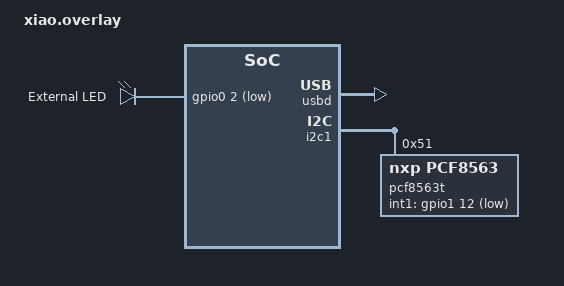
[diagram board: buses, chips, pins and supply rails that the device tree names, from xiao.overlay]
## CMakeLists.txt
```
# QPC Zephyr example
# SPDX-License-Identifier: GPL-3.0-or-later OR LicenseRef-QL-commercial

cmake_minimum_required(VERSION 3.20.0)
find_package(Zephyr REQUIRED HINTS $ENV{ZEPHYR_BASE})

project(dpp)

target_sources(app PRIVATE
 src/main.c
 src/bsp.c
 src/philo.c
 src/table.c
 src/meditation.c
 src/cts.c
 src/music.c
)

# QPC framework directory
# NOTE:
# Adjust this path for a different relative path
# between your project and the QPC folder
#
set(QPC_DIR ../../..)

# option to turn QSPY software tracing ON or OFF
# NOTE: change of the option might require re-building the project
#
option(QSPY "QSPY software tracing" ON)

# QPC framework includes and sources...
zephyr_include_directories(
 ${QPC_DIR}/include
 ${QPC_DIR}/zephyr
 ./src
)
target_sources(app PRIVATE
 ${QPC_DIR}/src/qf/qep_hsm.c
 ${QPC_DIR}/src/qf/qep_msm.c
 ${QPC_DIR}/src/qf/qf_act.c
 ${QPC_DIR}/src/qf/qf_qact.c
 ${QPC_DIR}/src/qf/qf_defer.c
 ${QPC_DIR}/src/qf/qf_dyn.c
 ${QPC_DIR}/src/qf/qf_mem.c
 ${QPC_DIR}/src/qf/qf_ps.c
 ${QPC_DIR}/src/qf/qf_qact.c
 ${QPC_DIR}/src/qf/qf_qeq.c
 ${QPC_DIR}/src/qf/qf_qmact.c
 ${QPC_DIR}/src/qf/qf_time.c
 ${QPC_DIR}/zephyr/qf_port.c
)

# QPCPP configuration with QSPY...
if(QSPY)

add_compile_definitions(Q_SPY)

target_sources(app PRIVATE
 ${QPC_DIR}/src/qs/qs.c
 ${QPC_DIR}/src/qs/qs_rx.c
 ${QPC_DIR}/src/qs/qs_fp.c
 ${QPC_DIR}/src/qs/qutest.c
 ${QPC_DIR}/src/qs/qs_64bit.c
 ${QPC_DIR}/src/qs/qstamp.c
)

endif()
```

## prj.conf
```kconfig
# QPC Zephyr application
# SPDX-License-Identifier: GPL-3.0-or-later OR LicenseRef-QL-commercial

CONFIG_NUM_COOP_PRIORITIES=29
CONFIG_NUM_PREEMPT_PRIORITIES=40
CONFIG_THREAD_NAME=y
CONFIG_REBOOT=y

# for QSPY...
CONFIG_SERIAL=y
# CONFIG_UART_INTERRUPT_DRIVEN=y
CONFIG_CONSOLE=y
CONFIG_UART_CONSOLE=n
CONFIG_USB_CDC_ACM=y

CONFIG_RTC=y
CONFIG_RTC_ALARM=y
# this gets enabled if NXP,PCF8563 enabled in overlay but adding here for clarity
CONFIG_RTC_PCF8563=y

CONFIG_BT=y
CONFIG_BT_PERIPHERAL=y
CONFIG_BT_DEVICE_NAME="Bakewell"

CONFIG_PWM=y
```

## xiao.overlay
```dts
/ {
    chosen {
        // was &uart0
        zephyr,console = &usb_cdc_acm_uart;
        zephyr,shell-uart = &usb_cdc_acm_uart;
        zephyr,uart-mcumgr = &usb_cdc_acm_uart;
        zephyr,bt-mon-uart = &usb_cdc_acm_uart;
        zephyr,bt-c2h-uart = &usb_cdc_acm_uart;
    };

    // pwmleds works for a buzzer and seems to be the best option
    pwmleds {
        buzzer: buzzer {
            pwms = <&pwm0 1 20 PWM_POLARITY_NORMAL>;
        };
    };

    leds {
		compatible = "gpio-leds";
		led_external: led_external {
			gpios = <&gpio0 2 GPIO_ACTIVE_LOW>;
			label = "External LED";
		};
    };
};

&usbd {
	status = "okay";
};

&pwm0_default {
	group2 {
		psels = <NRF_PSEL(PWM_OUT1, 0, 29)>;
	};
};

&i2c1 {
    pcf8563t: pcf8563t@51 {
        compatible = "nxp,pcf8563";
        reg = <0x51>;
        int1-gpios = <&gpio1 12 (GPIO_ACTIVE_LOW | GPIO_OPEN_DRAIN)>;
    };
};

&uart0 {
    //status = "disabled";
    disable-rx;
};
```

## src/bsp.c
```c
//============================================================================
// Product: "Dining Philosophers Problem" example, Zephyr RTOS kernel
// Last updated for: @ref qpc_7_3_2
// Last updated on  2023-12-13
//
//                   Q u a n t u m  L e a P s
//                   ------------------------
//                   Modern Embedded Software
//
// Copyright (C) 2005 Quantum Leaps, LLC. <state-machine.com>
//
// This program is open source software: you can redistribute it and/or
// modify it under the terms of the GNU General Public License as published
// by the Free Software Foundation, either version 3 of the License, or
// (at your option) any later version.
//
// Alternatively, this program may be distributed and modified under the
// terms of Quantum Leaps commercial licenses, which expressly supersede
// the GNU General Public License and are specifically designed for
// licensees interested in retaining the proprietary status of their code.
//
// This program is distributed in the hope that it will be useful,
// but WITHOUT ANY WARRANTY; without even the implied warranty of
// MERCHANTABILITY or FITNESS FOR A PARTICULAR PURPOSE. See the
// GNU General Public License for more details.
//
// You should have received a copy of the GNU General Public License
// along with this program. If not, see <www.gnu.org/licenses/>.
//
// Contact information:
// <www.state-machine.com/licensing>
// <info@state-machine.com>
//============================================================================
#include "qpc.h"                 // QP/C real-time embedded framework
#include "dpp.h"                 // DPP Application interface
#include "bsp.h"                 // Board Support Package

#include <zephyr/drivers/gpio.h>
#include <zephyr/sys/reboot.h>
// add other drivers if necessary...
#include <zephyr/drivers/rtc.h>

#include <zephyr/bluetooth/bluetooth.h>
#include <zephyr/bluetooth/uuid.h>
#include <zephyr/bluetooth/gatt.h>

#include <zephyr/drivers/pwm.h>

#include "music.h"

// The devicetree node identifier for the "led0" alias.
#define LED0_NODE DT_ALIAS(led0)
#define LED_EXTERNAL_NODE DT_NODELABEL(led_external)

Q_DEFINE_THIS_FILE

// Local-scope objects -----------------------------------------------------
static struct gpio_dt_spec const l_led0 = GPIO_DT_SPEC_GET(LED0_NODE, gpios);
static struct gpio_dt_spec const l_ledExternal = GPIO_DT_SPEC_GET(LED_EXTERNAL_NODE, gpios);
static const struct pwm_dt_spec piezo_pwm = PWM_DT_SPEC_GET(DT_NODELABEL(buzzer));

static struct k_timer zephyr_tick_timer;
static uint32_t l_rnd; // random seed

static const struct device* rtc_pcf8563 = DEVICE_DT_GET(DT_NODELABEL(pcf8563t));

/* Custom Service Variables */
#define BT_UUID_CUSTOM_SERVICE_VAL \
	BT_UUID_128_ENCODE(0x12345678, 0x1234, 0x5678, 0x1234, 0x56789abcdef0)

static const struct bt_data ad[] = {
	BT_DATA_BYTES(BT_DATA_FLAGS, (BT_LE_AD_GENERAL | BT_LE_AD_NO_BREDR)),
	BT_DATA_BYTES(BT_DATA_UUID16_ALL, BT_UUID_16_ENCODE(BT_UUID_CTS_VAL)),
	BT_DATA_BYTES(BT_DATA_UUID128_ALL, BT_UUID_CUSTOM_SERVICE_VAL),
};

static const struct bt_data sd[] = {
	BT_DATA(BT_DATA_NAME_COMPLETE, CONFIG_BT_DEVICE_NAME, sizeof(CONFIG_BT_DEVICE_NAME) - 1),
};

/* Custom Service Variables */
#define BT_UUID_CUSTOM_SERVICE_VAL \
	BT_UUID_128_ENCODE(0x12345678, 0x1234, 0x5678, 0x1234, 0x56789abcdef0)

static const struct bt_uuid_128 meditation_uuid = BT_UUID_INIT_128(BT_UUID_CUSTOM_SERVICE_VAL);

static const struct bt_uuid_128 meditation_start = BT_UUID_INIT_128(
	BT_UUID_128_ENCODE(0x12345678, 0x1234, 0x5678, 0x1234, 0x56789abcdef1));

static ssize_t write_meditation_start(struct bt_conn *conn, const struct bt_gatt_attr *attr,
			 const void *buf, uint16_t len, uint16_t offset,
			 uint8_t flags){

    static const QEvt evt = QEVT_INITIALIZER(START_MEDITATION_SIG);
    QACTIVE_POST(AO_Meditation, &evt, NULL);

    return len;
}

BT_GATT_SERVICE_DEFINE(meditation_service,
	BT_GATT_PRIMARY_SERVICE(&meditation_uuid),
	BT_GATT_CHARACTERISTIC(&meditation_start.uuid,
			       BT_GATT_CHRC_WRITE,
				   BT_GATT_PERM_WRITE,
			       NULL, &write_meditation_start, NULL));

#ifdef Q_SPY

    // QSpy source IDs
    static QSpyId const timerID = { 0U };

    enum AppRecords { // application-specific trace records
        PHILO_STAT = QS_USER,
        PAUSED_STAT,
    };

#endif

//============================================================================
// Error handler

Q_NORETURN Q_onError(char const * const module, int_t const id) {
    // NOTE: this implementation of the assertion handler is intended only
    // for debugging and MUST be changed for deployment of the application
    // (assuming that you ship your production code with assertions enabled).
    Q_UNUSED_PAR(module);
    Q_UNUSED_PAR(id);
    QS_ASSERTION(module, id, 10000U);
    Q_PRINTK("\nERROR in %s:%d\n", module, id);

#ifndef NDEBUG
    k_panic(); // debug build: halt the system for error search...
#else
    sys_reboot(SYS_REBOOT_COLD); // release build: reboot the system
#endif
    for (;;) { // explicitly no-return
    }
}
//............................................................................
void assert_failed(char const * const module, int_t const id); // prototype
void assert_failed(char const * const module, int_t const id) {
    Q_onError(module, id);
}

//............................................................................
static void zephyr_tick_function(struct k_timer *tid); // prototype
static void zephyr_tick_function(struct k_timer *tid) {
    Q_UNUSED_PAR(tid);

    QTIMEEVT_TICK_X(0U, &timerID);
}

//============================================================================

void BSP_init(void) {

#ifdef Q_SPY
    // wait a short while to give time for user to 
    // connect to CDC COM port so QSPY accesses the dictionaries
    k_sleep(K_MSEC(5000));
#endif

    int ret = gpio_pin_configure_dt(&l_led0, GPIO_OUTPUT_ACTIVE);
    Q_ASSERT(ret >= 0);

    ret = gpio_pin_configure_dt(&l_ledExternal, GPIO_OUTPUT_INACTIVE);
    Q_ASSERT(ret >= 0);

    ret = device_is_ready(rtc_pcf8563);
    Q_ASSERT(ret >= 0);

    ret = pwm_is_ready_dt(&piezo_pwm);
    Q_ASSERT(ret >= 0);

    ret = bt_enable(NULL);
    Q_ASSERT(ret >= 0);

	ret = bt_le_adv_start(BT_LE_ADV_CONN, ad, ARRAY_SIZE(ad), sd, ARRAY_SIZE(sd));
    Q_ASSERT(ret >= 0);

	QS_BEGIN_ID(PHILO_STAT, 0)
        QS_STR(__func__);
        QS_STR("Advertisement started");
    QS_END()

    k_timer_init(&zephyr_tick_timer, &zephyr_tick_function, NULL);

    BSP_randomSeed(1234U);

    // initialize the QS software tracing...
    if (QS_INIT((void *)0) == 0) {
        Q_ERROR();
    }

    QS_OBJ_DICTIONARY(&timerID);

    QS_USR_DICTIONARY(PHILO_STAT);
    QS_USR_DICTIONARY(PAUSED_STAT);

    QS_ONLY(produce_sig_dict());

    // setup the QS filters...
    QS_GLB_FILTER(QS_ALL_RECORDS); // all records
    QS_GLB_FILTER(-QS_QF_TICK);    // exclude the clock tick
}
//............................................................................
void BSP_start(void) {

    // initialize event pools
    static QF_MPOOL_EL(NewTimeEvt) smlPoolSto[10];
    QF_poolInit(smlPoolSto, sizeof(smlPoolSto), sizeof(smlPoolSto[0]));

    // initialize publish-subscribe
    static QSubscrList subscrSto[MAX_PUB_SIG];
    QActive_psInit(subscrSto, Q_DIM(subscrSto));

    // instantiate and start AOs/threads...

    static QEvt const *meditationQueSto[10];
    static K_THREAD_STACK_DEFINE(meditationStack, 1024);
    Meditation_ctor();
    QACTIVE_START(AO_Meditation,
        1,                          // QP prio. of the AO
        meditationQueSto,           // event queue storage
        Q_DIM(meditationQueSto),    // queue length [events]
        meditationStack, 
        K_THREAD_STACK_SIZEOF(meditationStack),
        (void *)0);                 // no initialization param
}
//............................................................................
void BSP_ledOn(void) {
    QS_BEGIN_ID(PHILO_STAT, 0)
        QS_STR(__func__);
    QS_END()
    gpio_pin_set_dt(&l_ledExternal, true);
}
//............................................................................
void BSP_ledOff(void) {
    QS_BEGIN_ID(PHILO_STAT, 0)
        QS_STR(__func__);
    QS_END()
    gpio_pin_set_dt(&l_ledExternal, false);
}
//............................................................................
void BSP_displayPhilStat(uint8_t n, char const *stat) {
    Q_UNUSED_PAR(n);

    if (stat[0] == 'e') {
        BSP_ledOn();
    }
    else {
        BSP_ledOff();
    }
    Q_PRINTK("Philo[%d]->%s\n", n, stat);

    // app-specific record
    QS_BEGIN_ID(PHILO_STAT, AO_Philo[n]->prio)
        QS_U8(1, n);  // Philosopher number
        QS_STR(stat); // Philosopher status
    QS_END()
}
//............................................................................
void BSP_displayPaused(uint8_t paused) {
    if (paused) {
        //BSP_ledOn();
    }
    else {
        //BSP_ledOff();
    }

    QS_BEGIN_ID(PAUSED_STAT, 0U) // app-specific record
        QS_U8(1, paused);  // Paused status
    QS_END()
}
//............................................................................
uint32_t BSP_random(void) { // a very cheap pseudo-random-number generator
    // exercise the FPU with some floating point computations
    // NOTE: this code can be only called from a task that created with
    // the option OS_TASK_OPT_SAVE_FP.
    float volatile x = 3.1415926F;
    x = x + 2.7182818F;

    // "Super-Duper" Linear Congruential Generator (LCG)
    // LCG(2^32, 3*7*11*13*23, 0, seed)
    //
    uint32_t rnd = l_rnd * (3U*7U*11U*13U*23U);
    l_rnd = rnd; // set for the next time

    return (rnd >> 8);
}
//............................................................................
void BSP_randomSeed(uint32_t seed) {
    l_rnd = seed;
}
//............................................................................
void BSP_terminate(int16_t result) {
    Q_UNUSED_PAR(result);
}
//............................................................................
struct AudioData {
    enum Quarter q;
    uint8_t hour;
};
K_MSGQ_DEFINE(audioq, sizeof(struct AudioData), 1, 1);
void play_audio_func(void* param1, void* param2, void* param3) {
    QS_BEGIN_ID(PHILO_STAT, 0U)
        QS_STR(__func__);
    QS_END()

    struct AudioData data = { 0 };
    for (;;) {
        k_msgq_purge(&audioq);
        k_msgq_get(&audioq, &data, K_NO_WAIT);
        if (k_msgq_get(&audioq, &data, K_FOREVER) == 0) {
            // play audio
            QS_BEGIN_ID(PHILO_STAT, 0U)
                QS_STR(__func__);           // String function
                QS_STR("Playing song");    // String function
                QS_U8(1, data.q);           // String function
                QS_U8(1, data.hour);        // String function
            QS_END()
            play_church_bell(data.q, data.hour);
        }
    }
}
K_THREAD_DEFINE(play_audio, 1024, play_audio_func, NULL, NULL, NULL, CONFIG_NUM_PREEMPT_PRIORITIES-2, 0, 0);

void BSP_playAudio(enum Quarter q, uint8_t hour) {
    QS_BEGIN_ID(PHILO_STAT, 0U)
        QS_STR(__func__);
    QS_END()
    static struct AudioData data;
    data.q = q;
    data.hour = hour;
    k_msgq_put(&audioq, &data, K_NO_WAIT);
}
//............................................................................
void BSP_setTime(struct tm newTime) {

    QS_BEGIN_ID(PHILO_STAT, 0U)
        QS_STR(__func__);     // String function
        QS_U8(1, newTime.tm_hour);
        QS_U8(1, newTime.tm_min);
        QS_U8(1, newTime.tm_sec);
    QS_END()

    struct rtc_time t = {
		.tm_year = newTime.tm_year,
		.tm_mon = newTime.tm_mon,
		.tm_mday = newTime.tm_mday,
		.tm_hour = newTime.tm_hour,
		.tm_min = newTime.tm_min,
		.tm_sec = newTime.tm_sec,
	};

	int ret = rtc_set_time(rtc_pcf8563, &t);
    if (ret < 0) {
        QS_BEGIN_ID(PHILO_STAT, 0U)
            QS_STR(__func__);     // String function
            QS_STR("Failed to set time");
        QS_END()
    }
}
//............................................................................
struct tm BSP_getTime(void) {
    struct tm ret = {0};
    struct rtc_time timeReceived = { 0 };

    rtc_get_time(rtc_pcf8563, &timeReceived);

    ret.tm_hour = timeReceived.tm_hour;
    ret.tm_min = timeReceived.tm_min;
    ret.tm_sec = timeReceived.tm_sec;

    QS_BEGIN_ID(PHILO_STAT, 0U)
        QS_STR(__func__);     // String function
        QS_U8(1, ret.tm_hour);
        QS_U8(1, ret.tm_min);
        QS_U8(1, ret.tm_sec);
    QS_END()

    return ret;
}
//............................................................................
void BSP_sleep(uint32_t milliseconds) {
    k_sleep(K_MSEC(milliseconds));
}
//............................................................................
void BSP_pwmBuzz(uint32_t frequency) {
    // 0 to turn off
    if (frequency == 0) {
        pwm_set_dt(&piezo_pwm, PWM_HZ(1000), 1);
    }
    else {
        pwm_set_dt(&piezo_pwm, PWM_HZ(frequency), PWM_HZ(frequency)/2);
    }
}

//============================================================================
// QF callbacks...
void QF_onStartup(void) {
    k_timeout_t timeout = K_MSEC(1000.0 / BSP_TICKS_PER_SEC);
    k_timer_start(&zephyr_tick_timer, timeout, timeout);
    Q_PRINTK("QF_onStartup\n");
}
//............................................................................
void QF_onCleanup(void) {
    Q_PRINTK("QF_onCleanup\n");
}

// QS callbacks ==============================================================
#ifdef Q_SPY

#include <zephyr/drivers/uart.h>

// select the Zephyr shell UART
// NOTE: you can change this to other UART peripheral if desired
static struct device const *uart_dev =
     DEVICE_DT_GET(DT_CHOSEN(zephyr_shell_uart));

//............................................................................
static void uart_cb(const struct device *dev, void *user_data) {
    if (!uart_irq_update(uart_dev)) {
        return;
    }

    if (uart_irq_rx_ready(uart_dev)) {
        uint8_t buf[32];
        int n = uart_fifo_read(uart_dev, buf, sizeof(buf));
        for (uint8_t const *p = buf; n > 0; --n, ++p) {
            QS_RX_PUT(*p);
        }
    }
}
//............................................................................
uint8_t QS_onStartup(void const *arg) {
    Q_UNUSED_PAR(arg);

    Q_REQUIRE(uart_dev != (struct device *)0);

    static uint8_t qsTxBuf[2*1024]; // buffer for QS-TX channel
    QS_initBuf  (qsTxBuf, sizeof(qsTxBuf));

    static uint8_t qsRxBuf[128];  // buffer for QS-RX channel
    QS_rxInitBuf(qsRxBuf, sizeof(qsRxBuf));

    // configure interrupt and callback to receive data
    uart_irq_callback_user_data_set(uart_dev, &uart_cb, (void *)0);
    uart_irq_rx_enable(uart_dev);

    return 1U; // return success
}
//............................................................................
void QS_onCleanup(void) {
}
//............................................................................
QSTimeCtr QS_onGetTime(void) {  // NOTE: invoked with interrupts DISABLED
    return k_cycle_get_32();
}
//............................................................................
// NOTE:
// No critical section in QS_onFlush() to avoid nesting of critical sections
// in case QS_onFlush() is called from Q_onError().
void QS_onFlush(void) {
    uint16_t len = 0xFFFFU; // to get as many bytes as available
    uint8_t const *buf;
    while ((buf = QS_getBlock(&len)) != (uint8_t*)0) {
        for (; len != 0U; --len, ++buf) {
            uart_poll_out(uart_dev, *buf);
        }
        len = 0xFFFFU; // to get as many bytes as available
    }
}
//............................................................................
void QS_doOutput(void) {
    uint16_t len = 0xFFFFU; // big number to get all available bytes

    QF_CRIT_STAT
    QF_CRIT_ENTRY();
    uint8_t const *buf = QS_getBlock(&len);
    QF_CRIT_EXIT();

    // transmit the bytes via the UART...
    for (; len != 0U; --len, ++buf) {
        uart_poll_out(uart_dev, *buf);
    }
}
//............................................................................
void QS_onReset(void) {
    sys_reboot(SYS_REBOOT_COLD);
}
//............................................................................
void QS_onCommand(uint8_t cmdId,
                  uint32_t param1, uint32_t param2, uint32_t param3)
{
    Q_UNUSED_PAR(cmdId);
    Q_UNUSED_PAR(param1);
    Q_UNUSED_PAR(param2);
    Q_UNUSED_PAR(param3);
}

#endif // Q_SPY
```

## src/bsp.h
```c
//============================================================================
// Product: Board Support Package example
// Last Updated for Version: 7.3.0
// Date of the Last Update:  2023-08-12
//
//                   Q u a n t u m  L e a P s
//                   ------------------------
//                   Modern Embedded Software
//
// Copyright (C) 2005 Quantum Leaps, LLC. All rights reserved.
//
// SPDX-License-Identifier: GPL-3.0-or-later OR LicenseRef-QL-commercial
//
// This software is dual-licensed under the terms of the open source GNU
// General Public License version 3 (or any later version), or alternatively,
// under the terms of one of the closed source Quantum Leaps commercial
// licenses.
//
// The terms of the open source GNU General Public License version 3
// can be found at: <www.gnu.org/licenses/gpl-3.0>
//
// The terms of the closed source Quantum Leaps commercial licenses
// can be found at: <www.state-machine.com/licensing>
//
// Redistributions in source code must retain this top-level comment block.
// Plagiarizing this software to sidestep the license obligations is illegal.
//
// Contact information:
// <www.state-machine.com/licensing>
// <info@state-machine.com>
//============================================================================
#ifndef BSP_H_
#define BSP_H_

#include <time.h>
#include <stdint.h>

#define BSP_TICKS_PER_SEC    5U

enum Quarter {
    First = 1,
    Second,
    Third,
    Fourth
};

void BSP_init(void);
void BSP_start(void);
void BSP_displayPaused(uint8_t paused);
void BSP_displayPhilStat(uint8_t n, char const *stat);
void BSP_terminate(int16_t result);

void BSP_randomSeed(uint32_t seed); // random seed
uint32_t BSP_random(void); // pseudo-random generator

void BSP_ledOn(void);
void BSP_ledOff(void);
void BSP_playAudio(enum Quarter q, uint8_t hour);
void BSP_setTime(struct tm newTime);
struct tm BSP_getTime(void);

void BSP_sleep(uint32_t milliseconds);
void BSP_pwmBuzz(uint32_t frequency);

#endif // BSP_H_
```

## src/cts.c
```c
/** @file
 *  @brief CTS Service sample
 */

/*
 * Copyright (c) 2016 Intel Corporation
 *
 * SPDX-License-Identifier: Apache-2.0
 */

#include <zephyr/types.h>
#include <stddef.h>
#include <string.h>
#include <errno.h>
#include <zephyr/sys/printk.h>
#include <zephyr/sys/byteorder.h>
#include <zephyr/kernel.h>

#include <zephyr/bluetooth/bluetooth.h>
#include <zephyr/bluetooth/hci.h>
#include <zephyr/bluetooth/conn.h>
#include <zephyr/bluetooth/uuid.h>
#include <zephyr/bluetooth/gatt.h>

#include <zephyr/drivers/rtc.h>

static uint8_t ct[10];

static void set_current_time(uint8_t *buf);
static void get_current_time(uint8_t *buf);

static const struct device* rtc_pcf8563 = DEVICE_DT_GET(DT_NODELABEL(pcf8563t));

static void ct_ccc_cfg_changed(const struct bt_gatt_attr *attr, uint16_t value)
{
	/* TODO: Handle value */
}

static ssize_t read_ct(struct bt_conn *conn, const struct bt_gatt_attr *attr,
		       void *buf, uint16_t len, uint16_t offset)
{
	uint8_t *value = attr->user_data;

	get_current_time(value);

	return bt_gatt_attr_read(conn, attr, buf, len, offset, value,
				 sizeof(ct));
}

static ssize_t write_ct(struct bt_conn *conn, const struct bt_gatt_attr *attr,
			const void *buf, uint16_t len, uint16_t offset,
			uint8_t flags)
{
	uint8_t *value = attr->user_data;

	if (offset + len > sizeof(ct)) {
		return BT_GATT_ERR(BT_ATT_ERR_INVALID_OFFSET);
	}

	memcpy(value + offset, buf, len);
	
	set_current_time(value);

	return len;
}

/* Current Time Service Declaration */
BT_GATT_SERVICE_DEFINE(cts_cvs,
	BT_GATT_PRIMARY_SERVICE(BT_UUID_CTS),
	BT_GATT_CHARACTERISTIC(BT_UUID_CTS_CURRENT_TIME, BT_GATT_CHRC_READ |
			       BT_GATT_CHRC_NOTIFY | BT_GATT_CHRC_WRITE,
			       BT_GATT_PERM_READ | BT_GATT_PERM_WRITE,
			       read_ct, write_ct, ct),
	BT_GATT_CCC(ct_ccc_cfg_changed, BT_GATT_PERM_READ | BT_GATT_PERM_WRITE),
);

void get_current_time(uint8_t *buf)
{
	uint16_t year;

	/* 'Exact Time 256' contains 'Day Date Time' which contains
	 * 'Date Time' - characteristic contains fields for:
	 * year, month, day, hours, minutes and seconds.
	 */

	struct rtc_time time = { 0 };
	rtc_get_time(rtc_pcf8563, &time);

	year = sys_cpu_to_le16(1900 + time.tm_year);
	memcpy(buf,  &year, 2); /* year */
	buf[2] = time.tm_mon + 1; /* months starting from 1 */
	buf[3] = time.tm_mday; /* day */
	buf[4] = time.tm_hour; /* hours */
	buf[5] = time.tm_min; /* minutes */
	buf[6] = time.tm_sec; /* seconds */

	/* 'Day of Week' part of 'Day Date Time' */
	buf[7] = time.tm_wday + 1; /* day of week starting from 1 */

	/* 'Fractions 256 part of 'Exact Time 256' */
	buf[8] = 0U;

	/* Adjust reason */
	buf[9] = 0U; /* No update, change, etc */
}

static void set_current_time(uint8_t *buf)
{
	uint16_t year = sys_le16_to_cpu((uint16_t)buf[0] | (buf[1] << 8)) - 1900;

	struct rtc_time t = {
		.tm_year = year,
		.tm_mon = buf[2] - 1,
		.tm_mday = buf[3],
		.tm_hour = buf[4],
		.tm_min = buf[5],
		.tm_sec = buf[6],
	};
	rtc_set_time(rtc_pcf8563, &t);
}

void cts_notify(void)
{	
	get_current_time(ct);
	bt_gatt_notify(NULL, &cts_cvs.attrs[1], &ct, sizeof(ct));
}
```

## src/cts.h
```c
/** @file
 *  @brief CTS Service sample
 */

/*
 * Copyright (c) 2016 Intel Corporation
 *
 * SPDX-License-Identifier: Apache-2.0
 */

#ifdef __cplusplus
extern "C" {
#endif

void cts_notify(void);

#ifdef __cplusplus
}
#endif
```

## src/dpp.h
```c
//$file${.::dpp.h} vvvvvvvvvvvvvvvvvvvvvvvvvvvvvvvvvvvvvvvvvvvvvvvvvvvvvvvvvvv
//
// Model: dpp.qm
// File:  ${.::dpp.h}
//
// This code has been generated by QM 6.2.3 <www.state-machine.com/qm>.
// DO NOT EDIT THIS FILE MANUALLY. All your changes will be lost.
//
//                 ____________________________________
//                /                                   /
//               /    GGGGGGG    PPPPPPPP   LL       /
//              /   GG     GG   PP     PP  LL       /
//             /   GG          PP     PP  LL       /
//            /   GG   GGGGG  PPPPPPPP   LL       /
//           /   GG      GG  PP         LL       /
//          /     GGGGGGG   PP         LLLLLLL  /
//         /___________________________________/
//
// Copyright (c) 2005 Quantum Leaps, LLC
// SPDX-License-Identifier: GPL-3.0-or-later
//
// This generated code is open-source software licensed under the GNU
// General Public License (GPL) as published by the Free Software Foundation
// (see <https://www.gnu.org/licenses>).
//
// NOTE:
// The GPL does NOT permit the incorporation of this code into proprietary
// programs. Please contact Quantum Leaps for commercial licensing options,
// which expressly supersede the GPL and are designed explicitly for licensees
// interested in retaining the proprietary status of the generated code.
//
// Quantum Leaps contact information:
// <www.state-machine.com/licensing>
// <info@state-machine.com>
//
//$endhead${.::dpp.h} ^^^^^^^^^^^^^^^^^^^^^^^^^^^^^^^^^^^^^^^^^^^^^^^^^^^^^^^^
#ifndef DPP_H_
#define DPP_H_

//$declare${Shared} vvvvvvvvvvvvvvvvvvvvvvvvvvvvvvvvvvvvvvvvvvvvvvvvvvvvvvvvvv

//${Shared::AppSignals} ......................................................
enum AppSignals {
    EAT_SIG = Q_USER_SIG, // published by Table to let a Philo eat
    DONE_SIG,       // published by Philo when done eating
    PAUSE_SIG,      // published by BSP to pause the application
    SERVE_SIG,      // published by BSP to serve re-start serving forks
    TEST_SIG,       // published by BSP to test the application
    MAX_PUB_SIG,    // the last published signal

    NEW_TIME_SIG,
    START_MEDITATION_SIG,
    MORNING_MEDITATION_START_SIG,
    MORNING_MEDITATION_END_SIG,
    MINUTE_QUARTER_SIG,
    ALARM_SIG,
    TIMEOUT_SIG,    // posted by time event to Philo
    HUNGRY_SIG,     // posted by hungry Philo to Table
    MAX_SIG         // the last signal
};

//${Shared::produce_sig_dict} ................................................
#ifdef Q_SPY
static inline void produce_sig_dict(void) {
    QS_SIG_DICTIONARY(EAT_SIG,     (void *)0);
    QS_SIG_DICTIONARY(DONE_SIG,    (void *)0);
    QS_SIG_DICTIONARY(PAUSE_SIG,   (void *)0);
    QS_SIG_DICTIONARY(SERVE_SIG,   (void *)0);
    QS_SIG_DICTIONARY(TEST_SIG,    (void *)0);

    QS_SIG_DICTIONARY(START_MEDITATION_SIG, (void *)0);
    QS_SIG_DICTIONARY(MORNING_MEDITATION_START_SIG, (void *)0);
    QS_SIG_DICTIONARY(MORNING_MEDITATION_END_SIG, (void *)0);
    QS_SIG_DICTIONARY(MINUTE_QUARTER_SIG, (void *)0);
    QS_SIG_DICTIONARY(TIMEOUT_SIG, (void *)0);
    QS_SIG_DICTIONARY(HUNGRY_SIG,  (void *)0);
    QS_SIG_DICTIONARY(NEW_TIME_SIG,  (void *)0);
}
#endif // def Q_SPY

//${Shared::N_PHILO} .........................................................
#define N_PHILO ((uint8_t)5U)

//${Shared::TableEvt} ........................................................
typedef struct {
// protected:
    QEvt super;

// public:
    uint8_t philoId;
} TableEvt;

// public:

#ifdef QEVT_DYN_CTOR
static inline TableEvt * TableEvt_ctor(TableEvt * const me,
    uint8_t id)
{
    if (me != (TableEvt *)0) {
        // don't call QEvt_ctor() because the initialization of all
        // QEvt attributes is already done in QF_QF_newX_()
        me->philoId = id;
    }
    return me;
}
#endif // def QEVT_DYN_CTOR

//${Shared::AO_Philo[N_PHILO]} ...............................................
extern QActive * const AO_Philo[N_PHILO];

//${Shared::Philo_ctor} ......................................................
void Philo_ctor(uint_fast8_t const id);

//${Shared::AO_Table} ........................................................
extern QActive * const AO_Table;

//${Shared::Table_ctor} ......................................................
void Table_ctor(void);

//${Shared::Meditation_ctor} .................................................
void Meditation_ctor(void);

//${Shared::AO_Meditation} ...................................................
extern QActive * const AO_Meditation;

//${Shared::NewTimeEvt} ......................................................
typedef struct {
// protected:
    QEvt super;

// public:
    uint8_t hours;
    uint8_t minutes;
    uint8_t seconds;
} NewTimeEvt;

//${Shared::QuarterEvt} ......................................................
typedef struct {
// protected:
    QEvt super;

// public:
    uint8_t quarter;
} QuarterEvt;
//$enddecl${Shared} ^^^^^^^^^^^^^^^^^^^^^^^^^^^^^^^^^^^^^^^^^^^^^^^^^^^^^^^^^^

#ifdef QXK_H_

extern QXThread * const TH_XThread1;
void XThread1_ctor(void);

extern QXThread * const TH_XThread2;
void XThread2_ctor(void);

extern QXSemaphore TH_sema;
extern QXMutex TH_mutex;

#endif // QXK_H_

#endif // DPP_H_
```

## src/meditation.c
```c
//$file${.::meditation.c} vvvvvvvvvvvvvvvvvvvvvvvvvvvvvvvvvvvvvvvvvvvvvvvvvvvv
//
// Model: dpp.qm
// File:  ${.::meditation.c}
//
// This code has been generated by QM 6.2.3 <www.state-machine.com/qm>.
// DO NOT EDIT THIS FILE MANUALLY. All your changes will be lost.
//
//                 ____________________________________
//                /                                   /
//               /    GGGGGGG    PPPPPPPP   LL       /
//              /   GG     GG   PP     PP  LL       /
//             /   GG          PP     PP  LL       /
//            /   GG   GGGGG  PPPPPPPP   LL       /
//           /   GG      GG  PP         LL       /
//          /     GGGGGGG   PP         LLLLLLL  /
//         /___________________________________/
//
// Copyright (c) 2005 Quantum Leaps, LLC
// SPDX-License-Identifier: GPL-3.0-or-later
//
// This generated code is open-source software licensed under the GNU
// General Public License (GPL) as published by the Free Software Foundation
// (see <https://www.gnu.org/licenses>).
//
// NOTE:
// The GPL does NOT permit the incorporation of this code into proprietary
// programs. Please contact Quantum Leaps for commercial licensing options,
// which expressly supersede the GPL and are designed explicitly for licensees
// interested in retaining the proprietary status of the generated code.
//
// Quantum Leaps contact information:
// <www.state-machine.com/licensing>
// <info@state-machine.com>
//
//$endhead${.::meditation.c} ^^^^^^^^^^^^^^^^^^^^^^^^^^^^^^^^^^^^^^^^^^^^^^^^^
#include "qpc.h"               // QP/C real-time embedded framework
#include "dpp.h"               // DPP Application interface
#include "bsp.h"               // Board Support Package
#include <time.h>

//$declare${AOs::Meditation} vvvvvvvvvvvvvvvvvvvvvvvvvvvvvvvvvvvvvvvvvvvvvvvvv

//${AOs::Meditation} .........................................................
typedef struct Meditation {
// protected:
    QActive super;

// private:
    QTimeEvt timeEvt;

// public:

// protected:
    struct tm alarm;
    uint8_t current_quarter;
    uint8_t current_hour;
} Meditation;

extern Meditation Meditation_inst;

// protected:
static void Meditation_alarm_goes_off_in(Meditation * const me,
    uint32_t seconds_in_future);

// protected:
static QState Meditation_initial(Meditation * const me, void const * const par);
static QState Meditation_get_time(Meditation * const me, QEvt const * const e);
static QState Meditation_meditation_until_7(Meditation * const me, QEvt const * const e);
static QState Meditation_meditation_for_90_mins(Meditation * const me, QEvt const * const e);
static QState Meditation_state15m(Meditation * const me, QEvt const * const e);
static QState Meditation_state30m(Meditation * const me, QEvt const * const e);
static QState Meditation_state45m(Meditation * const me, QEvt const * const e);
static QState Meditation_state1h(Meditation * const me, QEvt const * const e);
static QState Meditation_stateStart(Meditation * const me, QEvt const * const e);
static QState Meditation_state1h15m(Meditation * const me, QEvt const * const e);
//$enddecl${AOs::Meditation} ^^^^^^^^^^^^^^^^^^^^^^^^^^^^^^^^^^^^^^^^^^^^^^^^^

//----------------------------------------------------------------------------
Q_DEFINE_THIS_FILE

//$skip${QP_VERSION} vvvvvvvvvvvvvvvvvvvvvvvvvvvvvvvvvvvvvvvvvvvvvvvvvvvvvvvvv
// Check for the minimum required QP version
#if (QP_VERSION < 730U) || (QP_VERSION != ((QP_RELEASE^4294967295U)%0x2710U))
#error qpc version 7.3.0 or higher required
#endif
//$endskip${QP_VERSION} ^^^^^^^^^^^^^^^^^^^^^^^^^^^^^^^^^^^^^^^^^^^^^^^^^^^^^^
//$define${Shared::Meditation_ctor} vvvvvvvvvvvvvvvvvvvvvvvvvvvvvvvvvvvvvvvvvv

//${Shared::Meditation_ctor} .................................................
void Meditation_ctor(void) {
    Meditation * const me = &Meditation_inst;
    QActive_ctor(&me->super, Q_STATE_CAST(&Meditation_initial));
    QTimeEvt_ctorX(&me->timeEvt, &me->super, TIMEOUT_SIG, 0U);
}
//$enddef${Shared::Meditation_ctor} ^^^^^^^^^^^^^^^^^^^^^^^^^^^^^^^^^^^^^^^^^^
//$define${Shared::AO_Meditation} vvvvvvvvvvvvvvvvvvvvvvvvvvvvvvvvvvvvvvvvvvvv

//${Shared::AO_Meditation} ...................................................
QActive * const AO_Meditation = &Meditation_inst.super;
//$enddef${Shared::AO_Meditation} ^^^^^^^^^^^^^^^^^^^^^^^^^^^^^^^^^^^^^^^^^^^^
//$define${AOs::Meditation} vvvvvvvvvvvvvvvvvvvvvvvvvvvvvvvvvvvvvvvvvvvvvvvvvv

//${AOs::Meditation} .........................................................
Meditation Meditation_inst;

//${AOs::Meditation::alarm_goes_off_in} ......................................
static void Meditation_alarm_goes_off_in(Meditation * const me,
    uint32_t seconds_in_future)
{
    struct tm t = BSP_getTime();

    time_t secs = (t.tm_hour * 60 * 60) + (t.tm_min * 60) + t.tm_sec;

    secs += seconds_in_future;;

    me->alarm = *localtime(&secs);    // save it

    QS_BEGIN_ID(100, 0U)
            QS_STR(__func__);     // String function
            QS_U8(1, me->alarm.tm_hour);         // Hours
            QS_U8(1, me->alarm.tm_min);         // Minutes
            QS_U8(1, me->alarm.tm_sec);  // Seconds
    QS_END()
}

//${AOs::Meditation::SM} .....................................................
static QState Meditation_initial(Meditation * const me, void const * const par) {
    //${AOs::Meditation::SM::initial}
    Q_UNUSED_PAR(par);

    #ifdef Q_SPY
        Meditation * Meditation_inst = me;
        QS_OBJ_DICTIONARY(Meditation_inst);

        QTimeEvt * Meditation_timeEvt = &me->timeEvt;
        QS_OBJ_DICTIONARY(Meditation_timeEvt);
    #endif


    QS_FUN_DICTIONARY(&Meditation_get_time);
    QS_FUN_DICTIONARY(&Meditation_meditation_until_7);
    QS_FUN_DICTIONARY(&Meditation_meditation_for_90_mins);
    QS_FUN_DICTIONARY(&Meditation_state15m);
    QS_FUN_DICTIONARY(&Meditation_state30m);
    QS_FUN_DICTIONARY(&Meditation_state45m);
    QS_FUN_DICTIONARY(&Meditation_state1h);
    QS_FUN_DICTIONARY(&Meditation_stateStart);
    QS_FUN_DICTIONARY(&Meditation_state1h15m);

    return Q_TRAN(&Meditation_get_time);
}

//${AOs::Meditation::SM::get_time} ...........................................
static QState Meditation_get_time(Meditation * const me, QEvt const * const e) {
    QState status_;
    switch (e->sig) {
        //${AOs::Meditation::SM::get_time}
        case Q_ENTRY_SIG: {
            QTimeEvt_armX(&me->timeEvt, BSP_TICKS_PER_SEC, BSP_TICKS_PER_SEC);
            BSP_ledOff();
            status_ = Q_HANDLED();
            break;
        }
        //${AOs::Meditation::SM::get_time}
        case Q_EXIT_SIG: {
            (void)QTimeEvt_disarm(&me->timeEvt);
            status_ = Q_HANDLED();
            break;
        }
        //${AOs::Meditation::SM::get_time::TIMEOUT}
        case TIMEOUT_SIG: {
            struct tm t = BSP_getTime();

            me->current_hour = (t.tm_hour == 12) ? 12 : t.tm_hour % 12;
            me->current_quarter = (t.tm_min == 0) ? 4 : (t.tm_min / 15);

            if ((t.tm_hour >= 5) && (t.tm_hour < 7))
            {
                // morning meditation start
                static QEvt const evt1 = QEVT_INITIALIZER(MORNING_MEDITATION_START_SIG);
                QACTIVE_POST(&me->super, &evt1, me);
            }

            if ((t.tm_sec <= 1) &&
                ((t.tm_min == 15) || (t.tm_min == 30) || (t.tm_min == 45)) ||
                ((t.tm_sec <= 1) && (t.tm_min == 0)))
            {
                // minute_quarter (0, 15, 30, 45)
                static QEvt const evt3 = QEVT_INITIALIZER(MINUTE_QUARTER_SIG);
                QACTIVE_POST(&me->super, &evt3, me);
            }

            if ((t.tm_hour < 5) || (t.tm_hour >= 7))
            {
                // morning meditation end
                static QEvt const evt2 = QEVT_INITIALIZER(MORNING_MEDITATION_END_SIG);
                QACTIVE_POST(&me->super, &evt2, me);
            }

            if (
                (t.tm_sec == me->alarm.tm_sec) &&
                (t.tm_min == me->alarm.tm_min) &&
                (t.tm_hour == me->alarm.tm_hour)
                )
            {
                // alarm
                static QEvt const evt5 = QEVT_INITIALIZER(ALARM_SIG);
                QACTIVE_POST(&me->super, &evt5, me);
            }

            status_ = Q_HANDLED();
            break;
        }
        //${AOs::Meditation::SM::get_time::NEW_TIME}
        case NEW_TIME_SIG: {
            const NewTimeEvt* evt = Q_EVT_CAST(NewTimeEvt);
            struct tm time;

            time.tm_hour = evt->hours;
            time.tm_min = evt->minutes;
            time.tm_sec = evt->seconds;

            BSP_setTime(time);
            status_ = Q_HANDLED();
            break;
        }
        //${AOs::Meditation::SM::get_time::START_MEDITATION}
        case START_MEDITATION_SIG: {
            status_ = Q_TRAN(&Meditation_meditation_for_90_mins);
            break;
        }
        //${AOs::Meditation::SM::get_time::MORNING_MEDITATION_START}
        case MORNING_MEDITATION_START_SIG: {
            status_ = Q_TRAN(&Meditation_meditation_until_7);
            break;
        }
        default: {
            status_ = Q_SUPER(&QHsm_top);
            break;
        }
    }
    return status_;
}

//${AOs::Meditation::SM::get_time::meditation_until_7} .......................
static QState Meditation_meditation_until_7(Meditation * const me, QEvt const * const e) {
    QState status_;
    switch (e->sig) {
        //${AOs::Meditation::SM::get_time::meditation_until_7}
        case Q_ENTRY_SIG: {
            BSP_ledOn();
            status_ = Q_HANDLED();
            break;
        }
        //${AOs::Meditation::SM::get_time::meditation_until_7}
        case Q_EXIT_SIG: {
            BSP_ledOff();
            status_ = Q_HANDLED();
            break;
        }
        //${AOs::Meditation::SM::get_time::meditation_until~::MORNING_MEDITATION_END}
        case MORNING_MEDITATION_END_SIG: {
            status_ = Q_TRAN(&Meditation_get_time);
            break;
        }
        //${AOs::Meditation::SM::get_time::meditation_until~::MINUTE_QUARTER}
        case MINUTE_QUARTER_SIG: {
            BSP_playAudio(me->current_quarter, me->current_hour);
            status_ = Q_HANDLED();
            break;
        }
        //${AOs::Meditation::SM::get_time::meditation_until~::MORNING_MEDITATION_START}
        case MORNING_MEDITATION_START_SIG: {
            status_ = Q_HANDLED();
            break;
        }
        default: {
            status_ = Q_SUPER(&Meditation_get_time);
            break;
        }
    }
    return status_;
}

//${AOs::Meditation::SM::get_time::meditation_for_90_mins} ...................
static QState Meditation_meditation_for_90_mins(Meditation * const me, QEvt const * const e) {
    QState status_;
    switch (e->sig) {
        //${AOs::Meditation::SM::get_time::meditation_for_90_mins}
        case Q_ENTRY_SIG: {
            BSP_ledOn();
            status_ = Q_HANDLED();
            break;
        }
        //${AOs::Meditation::SM::get_time::meditation_for_90_mins}
        case Q_EXIT_SIG: {
            BSP_ledOff();
            status_ = Q_HANDLED();
            break;
        }
        //${AOs::Meditation::SM::get_time::meditation_for_9~::initial}
        case Q_INIT_SIG: {
            Meditation_alarm_goes_off_in(me, 15*60);
            status_ = Q_TRAN(&Meditation_stateStart);
            break;
        }
        //${AOs::Meditation::SM::get_time::meditation_for_9~::MORNING_MEDITATION_START}
        case MORNING_MEDITATION_START_SIG: {
            status_ = Q_HANDLED();
            break;
        }
        default: {
            status_ = Q_SUPER(&Meditation_get_time);
            break;
        }
    }
    return status_;
}

//${AOs::Meditation::SM::get_time::meditation_for_9~::state15m} ..............
static QState Meditation_state15m(Meditation * const me, QEvt const * const e) {
    QState status_;
    switch (e->sig) {
        //${AOs::Meditation::SM::get_time::meditation_for_9~::state15m}
        case Q_ENTRY_SIG: {
            BSP_playAudio(First, me->current_hour);
            status_ = Q_HANDLED();
            break;
        }
        //${AOs::Meditation::SM::get_time::meditation_for_9~::state15m::ALARM}
        case ALARM_SIG: {
            Meditation_alarm_goes_off_in(me, 15*60);
            status_ = Q_TRAN(&Meditation_state30m);
            break;
        }
        default: {
            status_ = Q_SUPER(&Meditation_meditation_for_90_mins);
            break;
        }
    }
    return status_;
}

//${AOs::Meditation::SM::get_time::meditation_for_9~::state30m} ..............
static QState Meditation_state30m(Meditation * const me, QEvt const * const e) {
    QState status_;
    switch (e->sig) {
        //${AOs::Meditation::SM::get_time::meditation_for_9~::state30m}
        case Q_ENTRY_SIG: {
            BSP_playAudio(Second, me->current_hour);
            status_ = Q_HANDLED();
            break;
        }
        //${AOs::Meditation::SM::get_time::meditation_for_9~::state30m::ALARM}
        case ALARM_SIG: {
            Meditation_alarm_goes_off_in(me, 15*60);
            status_ = Q_TRAN(&Meditation_state45m);
            break;
        }
        default: {
            status_ = Q_SUPER(&Meditation_meditation_for_90_mins);
            break;
        }
    }
    return status_;
}

//${AOs::Meditation::SM::get_time::meditation_for_9~::state45m} ..............
static QState Meditation_state45m(Meditation * const me, QEvt const * const e) {
    QState status_;
    switch (e->sig) {
        //${AOs::Meditation::SM::get_time::meditation_for_9~::state45m}
        case Q_ENTRY_SIG: {
            BSP_playAudio(Third, me->current_hour);
            status_ = Q_HANDLED();
            break;
        }
        //${AOs::Meditation::SM::get_time::meditation_for_9~::state45m::ALARM}
        case ALARM_SIG: {
            Meditation_alarm_goes_off_in(me, 15*60);
            status_ = Q_TRAN(&Meditation_state1h);
            break;
        }
        default: {
            status_ = Q_SUPER(&Meditation_meditation_for_90_mins);
            break;
        }
    }
    return status_;
}

//${AOs::Meditation::SM::get_time::meditation_for_9~::state1h} ...............
static QState Meditation_state1h(Meditation * const me, QEvt const * const e) {
    QState status_;
    switch (e->sig) {
        //${AOs::Meditation::SM::get_time::meditation_for_9~::state1h}
        case Q_ENTRY_SIG: {
            BSP_playAudio(Fourth, me->current_hour);
            status_ = Q_HANDLED();
            break;
        }
        //${AOs::Meditation::SM::get_time::meditation_for_9~::state1h::ALARM}
        case ALARM_SIG: {
            Meditation_alarm_goes_off_in(me, 15*60);
            status_ = Q_TRAN(&Meditation_state1h15m);
            break;
        }
        default: {
            status_ = Q_SUPER(&Meditation_meditation_for_90_mins);
            break;
        }
    }
    return status_;
}

//${AOs::Meditation::SM::get_time::meditation_for_9~::stateStart} ............
static QState Meditation_stateStart(Meditation * const me, QEvt const * const e) {
    QState status_;
    switch (e->sig) {
        //${AOs::Meditation::SM::get_time::meditation_for_9~::stateStart}
        case Q_ENTRY_SIG: {
            BSP_playAudio(Fourth, me->current_hour);
            status_ = Q_HANDLED();
            break;
        }
        //${AOs::Meditation::SM::get_time::meditation_for_9~::stateStart::ALARM}
        case ALARM_SIG: {
            Meditation_alarm_goes_off_in(me, 15*60);
            status_ = Q_TRAN(&Meditation_state15m);
            break;
        }
        default: {
            status_ = Q_SUPER(&Meditation_meditation_for_90_mins);
            break;
        }
    }
    return status_;
}

//${AOs::Meditation::SM::get_time::meditation_for_9~::state1h15m} ............
static QState Meditation_state1h15m(Meditation * const me, QEvt const * const e) {
    QState status_;
    switch (e->sig) {
        //${AOs::Meditation::SM::get_time::meditation_for_9~::state1h15m}
        case Q_ENTRY_SIG: {
            BSP_playAudio(First, me->current_hour);
            status_ = Q_HANDLED();
            break;
        }
        //${AOs::Meditation::SM::get_time::meditation_for_9~::state1h15m}
        case Q_EXIT_SIG: {
            BSP_playAudio(Second, me->current_hour);
            status_ = Q_HANDLED();
            break;
        }
        //${AOs::Meditation::SM::get_time::meditation_for_9~::state1h15m::ALARM}
        case ALARM_SIG: {
            status_ = Q_TRAN(&Meditation_get_time);
            break;
        }
        default: {
            status_ = Q_SUPER(&Meditation_meditation_for_90_mins);
            break;
        }
    }
    return status_;
}
//$enddef${AOs::Meditation} ^^^^^^^^^^^^^^^^^^^^^^^^^^^^^^^^^^^^^^^^^^^^^^^^^^
```

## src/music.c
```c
#include "music.h"
#include "bsp.h"
#include <stdbool.h>
#include "qpc.h"

Q_DEFINE_THIS_FILE

#define sixteenth ((whole) / 16)
#define eigth ((whole) / 8)
#define quarter ((whole) / 4)
#define half ((whole) / 2)
#define three_quarters (half + quarter)
#define whole (1000)
#define whole_plus_half (whole + half)
#define double (whole * 2)
#define double_plus_half (double + half)
#define quadro (whole * 4)

#define PAUSE 0
#define C3 131
#define C4 262
#define Db4 277
#define D4 294
#define Eb4 311
#define E4 330
#define F4 349
#define Gb4 370
#define G4 392
#define Ab4 415
#define A4 440
#define Bb4 466
#define B4 494
#define C5 523
#define Db5 554
#define D5 587
#define Eb5 622
#define E5 659
#define F5 698
#define Gb5 740
#define G5 784
#define Ab5 831
#define A5 880
#define Bb5 932
#define B5 988
#define C6 1046
#define Db6 1109
#define D6 1175
#define Eb6 1245
#define E6 1319
#define F6 1397

#define END_OF_SONG {0, 0}

static struct Notes ChurchQuarter[] = {
    {C4, whole}, {PAUSE, eigth}, {D4, whole_plus_half}, {PAUSE, quarter},
    END_OF_SONG
};

static struct Notes ChurchGong[] = {
    {C3, whole_plus_half}, {PAUSE, whole},
    END_OF_SONG
};

const struct Notes ASpacemanCameTravelling[] = {
 	{F5, whole}, {G5, half}, {F5, half}, {E5, whole},
 	{D5, half}, {C5, half}, {D5, whole}, {D5, half},
 	{C5, half}, {D5, whole}, {E5, whole},

	{F5, whole}, {G5, half}, {F5, half}, {E5, whole},
 	{D5, half}, {C5, half}, {D5, whole},
    END_OF_SONG
};

void play_tone(uint32_t freq, uint32_t duration_ms) {

	bool pause = false;
	if (duration_ms > 30)
	{
		duration_ms -= 30;
		pause = true;
	}

	if (freq == PAUSE)
	{
        BSP_pwmBuzz(0);
	}
	else
	{
        BSP_pwmBuzz(freq);
	}
    BSP_sleep(duration_ms);

	// Turn off the tone
    BSP_pwmBuzz(0);

	if (pause)
		BSP_sleep(10);
}

void play_song(const struct Notes* song) {
    const struct Notes* v = song;
    while ((v->duration_ms != 0) || (v->freq != 0)) {
		play_tone(v->freq, v->duration_ms);
        v++;
    }
}

void play_church_bell(enum Quarter q, uint8_t hour) {
    Q_ASSERT(q > 0);
    for (int i = 0; i < q; i++) {
        play_song(ChurchQuarter);
    }
    if (q == Fourth) {
        k_sleep(K_MSEC(2000));
        for (int i = 0; i < hour; i++) {
            play_song(ChurchGong);
        }
    }
}
```

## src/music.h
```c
#ifndef MUSIC_H
#define MUSIC_H

#include <stdint.h>
#include <stddef.h>
#include "bsp.h"

// Helper functions
struct Notes
{
	uint32_t freq;
	uint32_t duration_ms;
};

// Songs
extern const struct Notes ASpacemanCameTravelling[];

void play_church_bell(enum Quarter q, uint8_t hour);
void play_tone(uint32_t freq, uint32_t duration_ms);
void play_song(const struct Notes* song);

#endif
```
